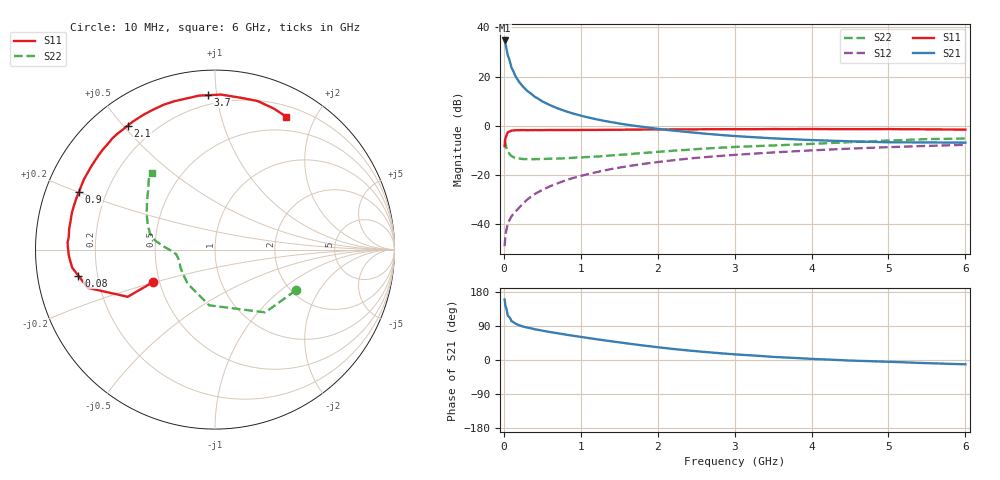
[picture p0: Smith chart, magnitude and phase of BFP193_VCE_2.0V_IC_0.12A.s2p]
! (c) 2017  Infineon Technologies AG, Munich
! Infineon Technologies  Discrete & RF Semiconductors
! BFP193
! VCE =  2.0 V,  IC = 0.12 A
! Common Emitter S-Parameters:  Jan 2017
# GHz  S  MA  R  50
!  f  S11  S21  S12  S22
! GHz  MAG  ANG  MAG  ANG  MAG  ANG  MAG  ANG
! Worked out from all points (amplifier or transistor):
!   77 points, 10 MHz to 6 GHz, reference 50 ohm
!   highest |S21| = 34.7 dB at 10 MHz (marker M1)
!   |S21| within 3 dB of that: start of sweep to 32.13 MHz
!   unconditionally stable (mu >= 1): start of sweep to 19.6 MHz; 137 MHz to end of sweep
!   at 130 MHz: K = 0.98, MSG = 28.7 dB, |S12| = -35.6 dB
!   at 2.2 GHz: K = 1.09, MAG = 4.2 dB, |S12| = -14.0 dB
!   at 6 GHz: K = 1.08, MAG = -1.2 dB, |S12| = -7.7 dB
!   S11 on the Smith chart (normalised r, x): 10 MHz: 0.46, -0.20; 80 MHz: 0.13, -0.09; 900 MHz: 0.10, +0.20; 2.1 GHz: 0.11, +0.51; 3.7 GHz: 0.14, +0.94; 6 GHz: 0.32, +1.63
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0.01  0.3874 -152.3  54.38 159.8  0.0036 67.5  0.5039 -26.8
0.02  0.5529 -151.6  47.36 143.6  0.0058 62.2  0.4482 -51.3
0.05  0.7406 -163.3  27.62 117.3  0.0101 51.0  0.3121 -96.0
0.08  0.7749 -169.2  19.96 110.5  0.0128 56.8  0.2603 -113.6
0.1  0.802 -172.8  15.14 102.3  0.0146 59.4  0.2438 -128.6
0.15  0.8147 -177.4  10.3 95.9  0.018 61.5  0.2232 -143.7
0.2  0.8189 179.8  7.769 91.6  0.0219 66.7  0.217 -152.2
0.25  0.8225 177.2  6.233 88.3  0.0266 67.6  0.2121 -157.2
0.3  0.8179 175.4  5.198 85.8  0.0314 69.5  0.2109 -161.4
0.4  0.821 171.8  3.924 81.2  0.041 71.4  0.2103 -165.7
0.5  0.8203 168.5  3.146 77.4  0.05 71.9  0.2123 -168.7
0.6  0.8236 165.5  2.639 73.8  0.0594 70.9  0.2156 -171.0
0.7  0.8229 163.0  2.269 70.6  0.0681 71.5  0.2165 -172.8
0.9  0.823 157.2  1.78 64.0  0.0873 69.0  0.225 -174.8
1.1  0.8287 151.7  1.48 58.0  0.1054 66.9  0.2335 -176.9
1.5  0.8347 141.0  1.117 46.6  0.1418 61.8  0.2578 179.4
2.1  0.8446 125.1  0.836 31.5  0.1921 53.0  0.3043 174.6
3.1  0.8564 103.3  0.609 13.7  0.2636 38.6  0.3787 164.6
3.7  0.8611 92.7  0.54 6.2  0.3 30.9  0.4121 156.4
4.1  0.8619 86.3  0.509 2.1  0.3233 25.8  0.4381 150.3
5.1  0.8582 72.7  0.463 -5.4  0.374 13.3  0.5108 136.6
6  0.8401 61.7  0.456 -11.4  0.4124 2.8  0.5531 129.2
